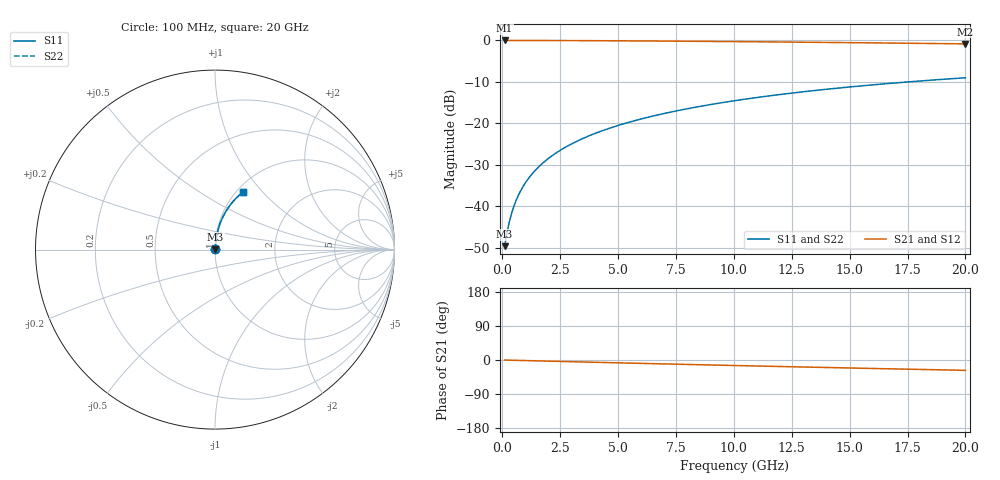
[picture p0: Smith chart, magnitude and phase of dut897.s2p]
! Touchstone file exported from HFSS 2024.1.0
!  File:  C:/UserFiles/LocalFiles/RDL_TSV_Batchsim/temp_RDL_top_897_1779857397.aedt
!  Generated:  12:52:26 PM May 27, 2026
!  Design:  RDL_top
!  Project:  temp_RDL_top_897_1779857397
!  Setup:  Setup1
!  Solution:  Sweep
! Variables:
!  dtsv = 10.80580581um
!  hbump = 3um
!  htsv = 54.43um
!  ldown = 100um
!  lrdl = 299.55um
!  p = 40
!  p1 = 53.12um
!  rhole = 1um
!  t = 450um
!  tdown = 3.915915916um
!  trdl = 3.76um
!  wdown = 15.38538539um
!  wrdl = 11.01um
# GHz S MA R 50.000000
! Terminal data exported
! Port[1] = Box2_T1
! Port[2] = Box2_T2
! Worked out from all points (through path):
!   200 points, 100 MHz to 20 GHz, reference 50 ohm
!   highest |S21| = -0.02 dB at 100 MHz (marker M1); lowest = -0.8 dB at 20 GHz (marker M2)
!   group delay of S21, straight-line fit = 3.78 ps
!   lowest |S11| = -49.7 dB at 100 MHz (marker M3), VSWR 1.01, Z = 50.3 + j0.194 ohm
!   |S11| at or under -10 dB: start of sweep to 17.57 GHz
!   |S22| runs from -49.7 to -9.0 dB; largest |S21 - S12| = 4.7e-15
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0.1  0.003292 35.9  0.9973 -0.2  0.9973 -0.2  0.003292 35.9
! Gamma 0 0 0 0
! Port Impedance 50 0 50 0
0.2  0.004706 54.9  0.9973 -0.3  0.9973 -0.3  0.004706 54.9
0.3  0.006388 64.4  0.9972 -0.5  0.9972 -0.5  0.006388 64.4
0.4  0.008161 69.8  0.9972 -0.6  0.9972 -0.6  0.008161 69.8
0.5  0.009972 73.1  0.9971 -0.8  0.9971 -0.8  0.009972 73.1
0.6  0.0118 75.4  0.997 -0.9  0.997 -0.9  0.0118 75.4
0.8  0.01548 78.3  0.9969 -1.2  0.9969 -1.2  0.01548 78.3
1.1  0.02103 80.7  0.9966 -1.7  0.9966 -1.7  0.02103 80.7
1.5  0.02847 82.2  0.9961 -2.3  0.9961 -2.3  0.02847 82.2
1.8  0.03407 82.8  0.9957 -2.7  0.9957 -2.7  0.03407 82.8
2.1  0.03968 83.2  0.9953 -3.2  0.9953 -3.2  0.03968 83.2
2.7  0.05091 83.4  0.9942 -4.1  0.9942 -4.1  0.05091 83.4
3.5  0.06591 83.2  0.9924 -5.3  0.9924 -5.3  0.06591 83.2
4.2  0.07904 82.7  0.9905 -6.3  0.9905 -6.3  0.07904 82.7
5  0.09403 82.1  0.9879 -7.5  0.9879 -7.5  0.09403 82.1
5.9  0.1109 81.2  0.9848 -8.8  0.9848 -8.8  0.1109 81.2
6.8  0.1277 80.3  0.9812 -10.1  0.9812 -10.1  0.1277 80.3
8.3  0.1555 78.6  0.9747 -12.2  0.9747 -12.2  0.1554 78.6
10.1  0.1884 76.4  0.966 -14.7  0.966 -14.7  0.1883 76.4
13.4  0.2468 72.3  0.9482 -19.1  0.9482 -19.1  0.2468 72.3
16.7  0.3022 68.2  0.9285 -23.3  0.9285 -23.3  0.3022 68.2
20  0.3539 64.3  0.9073 -27.3  0.9073 -27.3  0.3539 64.3
